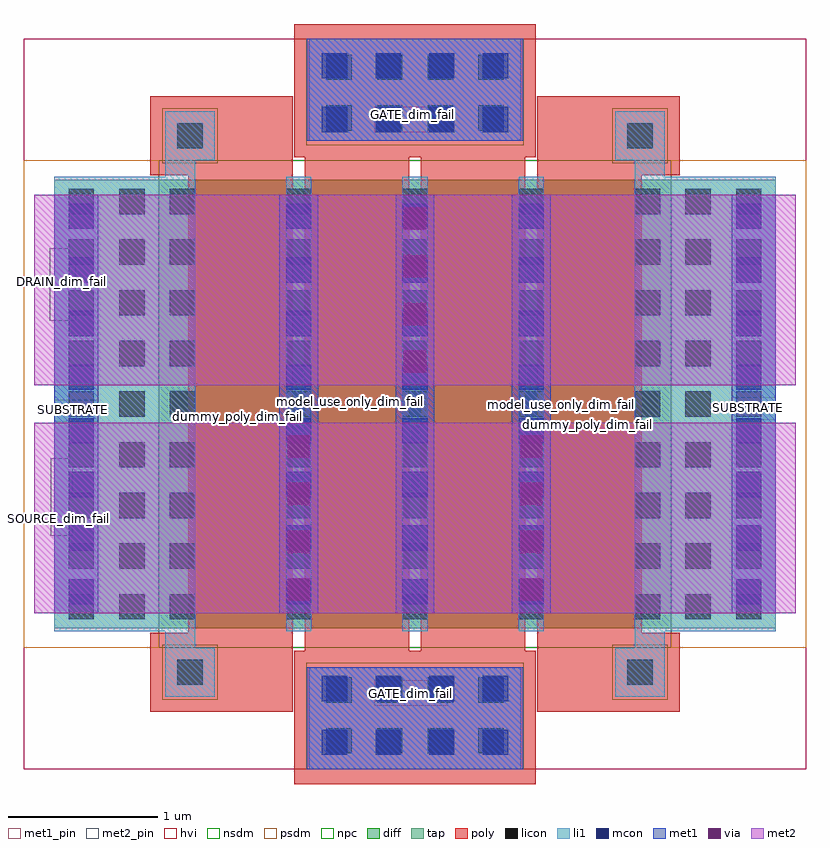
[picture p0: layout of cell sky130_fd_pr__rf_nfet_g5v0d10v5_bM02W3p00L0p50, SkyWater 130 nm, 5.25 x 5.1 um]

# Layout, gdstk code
import gdstk
lib = gdstk.Library(unit=1e-6, precision=1e-09)
def R(c, l, rs):  # rectangles x0, y0, x1, y1
    for r in rs: c.add(gdstk.rectangle(r[:2], r[2:], *l))
def A(c, l, x, y, w, h, nx, ny, dx, dy):  # array of equal rectangles
    R(c, l, [(x+i*dx, y+j*dy, x+i*dx+w, y+j*dy+h) for i in range(nx) for j in range(ny)])
def P(c, l, *ps):  # polygons
    for p in ps: c.add(gdstk.Polygon(p, *l))
diff = (65, 20)
tap = (65, 44)
poly = (66, 20)
licon = (66, 44)
li1 = (67, 20)
mcon = (67, 44)
met1_pin = (68, 16)
met1 = (68, 20)
via = (68, 44)
met2_pin = (69, 16)
met2 = (69, 20)
hvi = (75, 20)
nsdm = (93, 44)
psdm = (94, 20)
npc = (95, 20)

sky130_fd_pr__rf_nfet_g5 = lib.new_cell('sky130_fd_pr__rf_nfet_g5v0d10v5_bM02W3p00L0p50')
R(sky130_fd_pr__rf_nfet_g5, diff, [(0.905,0.945,4.345,3.955)])
R(sky130_fd_pr__rf_nfet_g5, tap, [(0.205,0.945,0.905,3.955), (4.345,0.945,5.045,3.955)])
P(sky130_fd_pr__rf_nfet_g5, poly, [(0.85,0.385),(0.85,0.915),(1.105,0.915),(1.105,3.985),(0.85,3.985),(0.85,4.515),(1.805,4.515),(1.805,0.385)],
  [(3.445,0.385),(3.445,4.515),(4.4,4.515),(4.4,3.985),(4.145,3.985),(4.145,0.915),(4.4,0.915),(4.4,0.385)],
  [(1.815,-0.1),(1.815,0.795),(1.885,0.795),(1.885,4.105),(2.585,4.105),(2.585,0.795),(2.665,0.795),(2.665,4.105),(1.815,4.105),(1.815,5),(3.435,5),(3.435,4.105),(3.365,4.105),(3.365,0.795),(3.435,0.795),(3.435,-0.1)])
A(sky130_fd_pr__rf_nfet_g5, licon, 2.03, 0.105, 0.17, 0.17, 4, 2, 0.34, 0.34)
A(sky130_fd_pr__rf_nfet_g5, licon, 0.3, 1.005, 0.17, 0.17, 3, 9, 0.34, 0.34)
A(sky130_fd_pr__rf_nfet_g5, licon, 1.76, 1.005, 0.17, 0.17, 4, 9, 0.78, 0.34)
A(sky130_fd_pr__rf_nfet_g5, licon, 4.44, 1.005, 0.17, 0.17, 1, 9, 0, 0.34)
A(sky130_fd_pr__rf_nfet_g5, licon, 4.78, 1.005, 0.17, 0.17, 1, 9, 0, 0.34)
A(sky130_fd_pr__rf_nfet_g5, licon, 2.03, 4.285, 0.17, 0.17, 4, 2, 0.34, 0.34)
R(sky130_fd_pr__rf_nfet_g5, licon, [(1.03,0.565,1.2,0.735), (4.05,0.565,4.22,0.735), (1.03,4.165,1.2,4.335), (4.05,4.165,4.22,4.335)])
A(sky130_fd_pr__rf_nfet_g5, li1, 1.76, 0.925, 0.17, 3.05, 3, 1, 0.78, 0)
A(sky130_fd_pr__rf_nfet_g5, li1, 1.76, 1.105, 0.17, 2.69, 3, 1, 0.78, 0)
R(sky130_fd_pr__rf_nfet_g5, li1, [(1.915,0,3.335,0.685), (0.95,0.485,1.28,0.815), (3.97,0.485,4.3,0.815), (0.95,0.815,1.15,0.925), (4.1,0.815,4.3,0.925), (0.205,0.925,1.15,3.975), (4.1,0.925,5.045,3.975), (0.95,3.975,1.15,4.085), (4.1,3.975,4.3,4.085), (0.95,4.085,1.28,4.415), (3.97,4.085,4.3,4.415), (1.915,4.215,3.335,4.9)])
A(sky130_fd_pr__rf_nfet_g5, mcon, 2, 0.095, 0.17, 0.17, 4, 2, 0.36, 0.36)
A(sky130_fd_pr__rf_nfet_g5, mcon, 0.3, 1.105, 0.17, 0.17, 1, 8, 0, 0.36)
A(sky130_fd_pr__rf_nfet_g5, mcon, 1.76, 1.105, 0.17, 0.17, 3, 8, 0.78, 0.36)
A(sky130_fd_pr__rf_nfet_g5, mcon, 4.78, 1.105, 0.17, 0.17, 1, 8, 0, 0.36)
A(sky130_fd_pr__rf_nfet_g5, mcon, 2, 4.275, 0.17, 0.17, 4, 2, 0.36, 0.36)
R(sky130_fd_pr__rf_nfet_g5, met1_pin, [(2.35,0.425,2.84,0.595), (0.205,2.33,0.5,2.48), (4.75,2.345,5.045,2.495), (2.35,4.275,2.84,4.445)])
A(sky130_fd_pr__rf_nfet_g5, met1, 1.715, 1.045, 0.26, 2.81, 3, 1, 0.78, 0)
R(sky130_fd_pr__rf_nfet_g5, met1, [(1.9,0,3.35,0.685), (0.205,1.045,0.5,3.855), (1.715,1.045,1.975,2.325), (3.275,1.045,3.535,2.325), (4.75,1.045,5.045,3.855), (2.495,2.575,2.755,3.855), (1.9,4.215,3.35,4.9)])
A(sky130_fd_pr__rf_nfet_g5, via, 1.77, 1.13, 0.15, 0.15, 1, 4, 0, 0.32)
A(sky130_fd_pr__rf_nfet_g5, via, 3.33, 1.13, 0.15, 0.15, 1, 4, 0, 0.32)
A(sky130_fd_pr__rf_nfet_g5, via, 2.55, 2.66, 0.15, 0.15, 1, 4, 0, 0.32)
R(sky130_fd_pr__rf_nfet_g5, met2_pin, [(0.18,1.565,0.33,2.085), (0.175,3.01,0.35,3.495)])
R(sky130_fd_pr__rf_nfet_g5, met2, [(0.07,1.045,5.18,2.325), (1.715,1.045,1.975,2.325), (3.275,1.045,3.535,2.325), (0.07,2.575,5.18,3.855), (2.495,2.575,2.755,3.855)])
R(sky130_fd_pr__rf_nfet_g5, hvi, [(0,0,5.25,4.9)])
R(sky130_fd_pr__rf_nfet_g5, nsdm, [(0.905,0.815,4.345,4.085)])
R(sky130_fd_pr__rf_nfet_g5, psdm, [(0,0.815,0.905,4.085), (4.345,0.815,5.25,4.085)])
R(sky130_fd_pr__rf_nfet_g5, npc, [(1.895,0,3.355,0.715), (0.93,0.465,1.3,0.835), (3.95,0.465,4.32,0.835), (0.93,4.065,1.3,4.435), (3.95,4.065,4.32,4.435), (1.895,4.185,3.355,4.9)])
sky130_fd_pr__rf_nfet_g5.add(gdstk.Label('SOURCE_dim_fail', (0.23,1.685), layer=69, texttype=5))
sky130_fd_pr__rf_nfet_g5.add(gdstk.Label('DRAIN_dim_fail', (0.255,3.275), layer=69, texttype=5))
sky130_fd_pr__rf_nfet_g5.add(gdstk.Label('model_use_only_dim_fail', (3.605,2.45), layer=66, texttype=83))
sky130_fd_pr__rf_nfet_g5.add(gdstk.Label('model_use_only_dim_fail', (3.015,2.49), layer=66, texttype=83))
sky130_fd_pr__rf_nfet_g5.add(gdstk.Label('model_use_only_dim_fail', (2.19,2.47), layer=66, texttype=83))
sky130_fd_pr__rf_nfet_g5.add(gdstk.Label('model_use_only_dim_fail', (1.615,2.45), layer=66, texttype=83))
sky130_fd_pr__rf_nfet_g5.add(gdstk.Label('GATE_dim_fail', (2.595,0.51), layer=68, texttype=5))
sky130_fd_pr__rf_nfet_g5.add(gdstk.Label('GATE_dim_fail', (2.61,4.39), layer=68, texttype=5))
sky130_fd_pr__rf_nfet_g5.add(gdstk.Label('SUBSTRATE', (0.335,2.41), layer=68, texttype=16))
sky130_fd_pr__rf_nfet_g5.add(gdstk.Label('SUBSTRATE', (4.86,2.425), layer=68, texttype=16))
sky130_fd_pr__rf_nfet_g5.add(gdstk.Label('S_dim_fail', (1.845,2.45), layer=83, texttype=44))
sky130_fd_pr__rf_nfet_g5.add(gdstk.Label('S_dim_fail', (2.625,2.45), layer=83, texttype=44))
sky130_fd_pr__rf_nfet_g5.add(gdstk.Label('S_dim_fail', (3.405,2.45), layer=83, texttype=44))
sky130_fd_pr__rf_nfet_g5.add(gdstk.Label('S_dim_fail', (1.845,2.45), layer=83, texttype=44))
sky130_fd_pr__rf_nfet_g5.add(gdstk.Label('D_dim_fail', (2.625,2.45), layer=83, texttype=44))
sky130_fd_pr__rf_nfet_g5.add(gdstk.Label('S_dim_fail', (3.405,2.45), layer=83, texttype=44))
sky130_fd_pr__rf_nfet_g5.add(gdstk.Label('dummy_poly_dim_fail', (3.785,2.31), layer=83, texttype=44))
sky130_fd_pr__rf_nfet_g5.add(gdstk.Label('dummy_poly_dim_fail', (1.435,2.365), layer=83, texttype=44))

lib.write_gds('sky130_fd_pr__rf_nfet_g5v0d10v5_bM02W3p00L0p50.gds')
